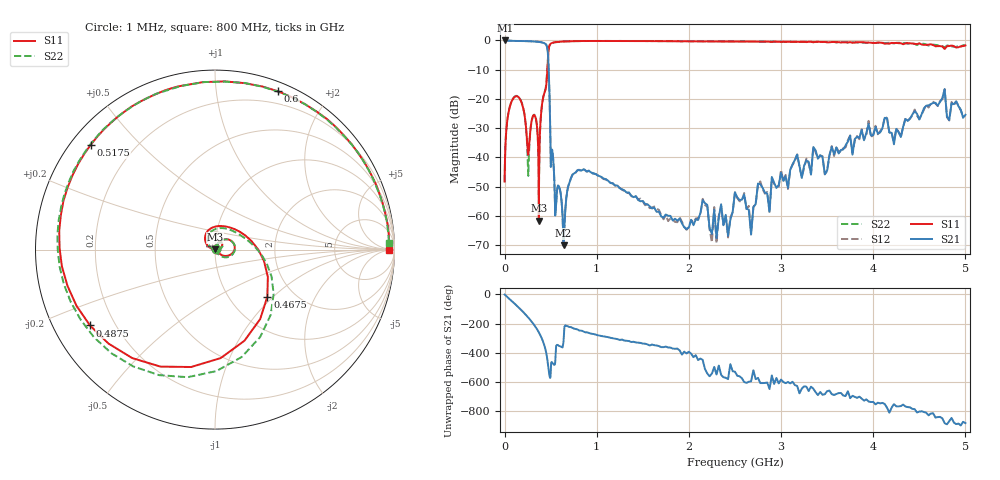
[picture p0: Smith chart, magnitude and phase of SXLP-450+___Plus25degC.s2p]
!Created: 07-15-2009 at 1:45 PM
!MODEL: SXLP-450+
!S/N: U6_TB-RT
#MHz S dB R 50
!Frequency  S11 dB  S11 DEG  S21 dB  S21 DEG  S12 dB  S12 DEG  S22 dB  S22 DEG
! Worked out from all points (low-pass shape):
!   401 points, 1 MHz to 5 GHz, reference 50 ohm
!   highest |S21| = -0.03 dB at 2.5 MHz (marker M1); lowest = -70.1 dB at 640 MHz (marker M2)
!   |S21| within 3 dB of the highest: start of sweep to 465.9 MHz
!   lowest |S11| = -61.6 dB at 372.5 MHz (marker M3), VSWR 1.00, Z = 50 + j0.0798 ohm
!   |S11| at or under -10 dB: start of sweep to 464.3 MHz
!   |S22| runs from -60.8 to -0.2 dB; largest |S21 - S12| = 0.0069
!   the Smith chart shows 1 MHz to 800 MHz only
!   S11 on the Smith chart (normalised r, x): 1 MHz: 1.01, +0.00; 467.5 MHz: 1.48, -0.92; 487.5 MHz: 0.11, -0.28; 517.5 MHz: 0.06, +0.36; 600 MHz: 0.08, +1.47; 800 MHz: 69, +0
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1  -48.24 25.4  -0.04 -0.7  -0.03 -0.6  -48.24 25.4
2.5  -45.04 47.1  -0.03 -1.4  -0.04 -1.4  -45.08 47.1
55  -23.02 50.6  -0.11 -31.6  -0.12 -31.6  -22.91 50.1
177.5  -20.70 -17.2  -0.23 -103.8  -0.23 -103.9  -20.58 -22.1
257.5  -39.10 17.3  -0.28 -157.5  -0.28 -157.7  -46.30 16.5
340  -26.77 29.6  -0.41 134.5  -0.42 134.4  -26.54 25.2
372.5  -61.59 73.3  -0.50 100.5  -0.50 100.3  -60.76 14.3
435  -17.81 88.1  -1.03 5.4  -1.02 5.2  -17.75 66.0
467.5  -8.13 -42.0  -3.41 -100.0  -3.43 -100.5  -7.75 -37.1
487.5  -1.78 -148.8  -18.14 165.0  -18.24 164.8  -1.76 -135.0
517.5  -0.86 139.9  -37.51 -106.1  -37.54 -106.5  -0.90 151.0
547.5  -0.62 104.8  -55.41 -115.9  -55.60 -117.0  -0.67 113.2
600  -0.45 68.3  -50.71 5.7  -50.91 5.3  -0.49 73.9
640  -0.37 49.4  -70.07 34.6  -70.33 26.2  -0.41 53.8
800  -0.25 0.0  -44.31 117.5  -44.24 117.0  -0.26 2.1
840  -0.23 -9.2  -44.39 111.4  -44.46 111.3  -0.24 -7.5
1225  -0.22 -76.8  -49.60 54.4  -49.80 55.2  -0.22 -75.7
1675  -0.30 -137.7  -58.54 6.8  -57.93 5.8  -0.27 -136.1
2525  -0.39 122.5  -53.62 163.9  -53.88 166.2  -0.37 126.4
3350  -0.66 33.6  -36.44 75.0  -36.37 70.8  -0.55 37.5
4175  -1.13 -54.2  -31.47 -89.1  -31.44 -88.3  -0.84 -53.1
5000  -1.72 -148.4  -25.45 -160.2  -25.72 -161.3  -1.79 -144.6
